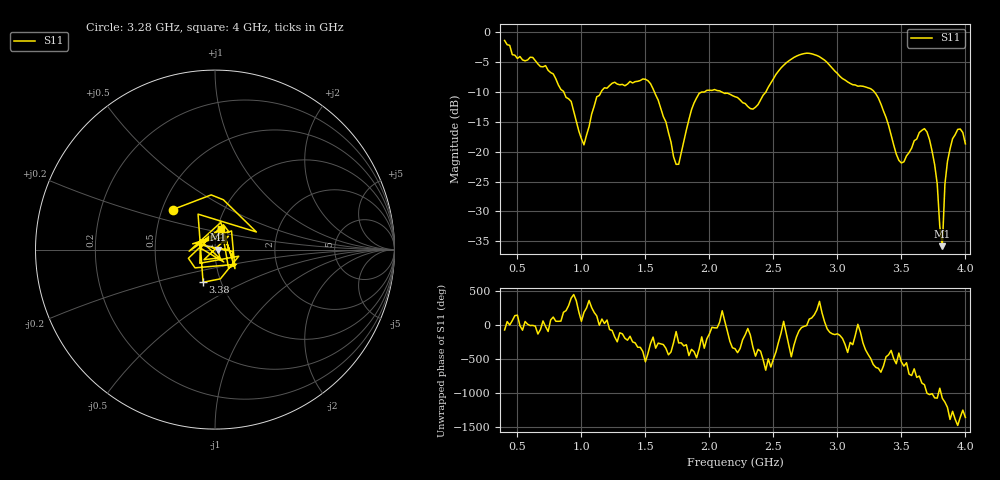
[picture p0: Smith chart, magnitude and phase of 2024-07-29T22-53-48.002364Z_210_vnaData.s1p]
!Created with skrf (http://scikit-rf.org).
# Hz S RI R 50.0
!freq ReS11 ImS11
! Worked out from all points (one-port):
!   181 points, 400 MHz to 4 GHz, reference 50 ohm
!   lowest |S11| = -35.8 dB at 3.82 GHz (marker M1), VSWR 1.03, Z = 51.6 - j0.097 ohm
!   |S11| at or under -10 dB: 1.57 GHz to 1.962 GHz (391.6 MHz wide, 22.2 % of centre); 2.096 GHz to 2.441 GHz (345.5 MHz wide, 15.2 % of centre); 3.288 GHz to end of sweep (the widest 3 of 4)
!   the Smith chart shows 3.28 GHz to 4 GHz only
!   S11 on the Smith chart (normalised r, x): 3.28 GHz: 0.57, +0.28; 3.38 GHz: 0.82, -0.31; 4 GHz: 1.04, +0.24
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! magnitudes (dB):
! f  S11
! 400 MHz  -1.4
! 500 MHz  -4.4
! 720 MHz  -5.6
! 860 MHz  -9.9
! 920 MHz  -11.6
! 1.02 GHz  -18.9
! 1.12 GHz  -10.8
! 1.3 GHz  -8.8
! 1.54 GHz  -8.6
! 1.76 GHz  -22.1
! 1.86 GHz  -13.0
! 1.92 GHz  -10.2
! 2.2 GHz  -10.8
! 2.34 GHz  -12.9
! 2.66 GHz  -4.2
! 2.84 GHz  -3.9
! 3.1 GHz  -8.6
! 3.28 GHz  -9.8
! 3.38 GHz  -14.3
! 3.48 GHz  -21.4
! 3.56 GHz  -20.1
! 3.7 GHz  -16.7
! 3.76 GHz  -22.2
! 3.82 GHz  -35.8
! 3.84 GHz  -25.4
! 3.88 GHz  -19.5
! 3.94 GHz  -16.3
! 4 GHz  -18.7
